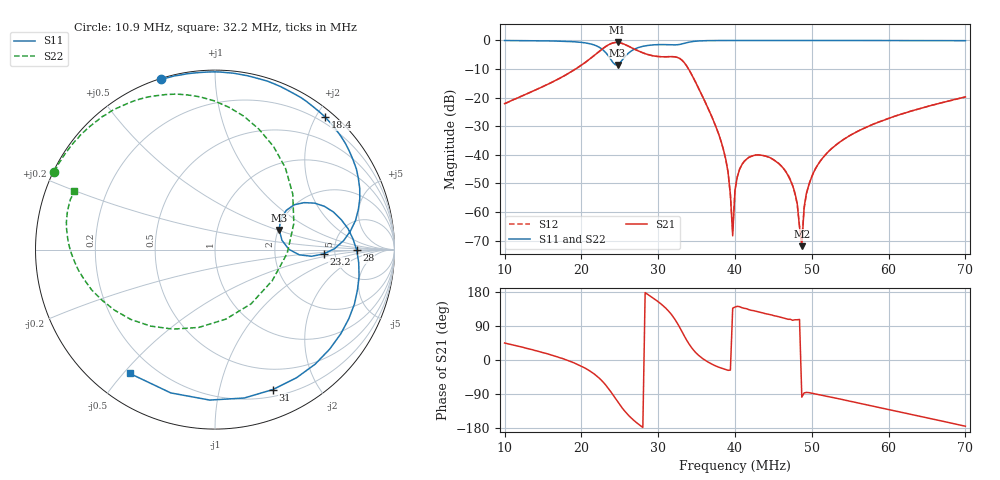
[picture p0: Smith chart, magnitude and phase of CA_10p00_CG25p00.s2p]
#  HZ  S  RI  R  50.00
! Rohde & Schwarz ZVT8 8Ports - Version 4.11 - 1300.0000k08 SN: 100242
! Date: 2026-07-31 14:10:20
! Measurements: S11 S21 S12 S22
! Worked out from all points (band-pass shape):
!   201 points, 10 MHz to 70 MHz, reference 50 ohm
!   highest |S21| = -0.71 dB at 24.7 MHz (marker M1); lowest = -71.9 dB at 48.7 MHz (marker M2)
!   |S21| within 3 dB of the highest: 22.38 MHz to 27.43 MHz (5.042 MHz wide, 20.2 % of centre)
!   lowest |S11| = -8.5 dB at 24.7 MHz (marker M3), VSWR 2.19, Z = 101 + j25.6 ohm
!   |S11| at or under -10 dB: nowhere
!   |S22| runs from -8.8 to 0.0 dB; largest |S21 - S12| = 0.0033
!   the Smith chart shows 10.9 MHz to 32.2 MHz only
!   S11 on the Smith chart (normalised r, x): 10.9 MHz: 0.00, +0.73; 18.4 MHz: 0.11, +2.12; 23.2 MHz: 4.05, -0.31; 28 MHz: 8.51, -0.16; 31 MHz: 0.27, -1.46; 32.2 MHz: 0.11, -0.52
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1e7  -0.4007 0.9123  0.0555 0.0554  0.0554 0.0556  -0.9146 0.3952
1.09e7  -0.2991 0.9482  0.0676 0.0579  0.0676 0.0579  -0.8969 0.435
1.84e7  0.6129 0.7391  0.27 -0.0128  0.2695 -0.0122  -0.5517 0.7854
2.02e7  0.769 0.5004  0.3667 -0.1221  0.3664 -0.1218  -0.3264 0.8576
2.32e7  0.6052 -0.0242  0.3079 -0.7258  0.3072 -0.7265  0.3922 0.4554
2.47e7  0.3577 0.1088  -0.305 -0.869  -0.3057 -0.869  0.2005 -0.3025
2.8e7  0.7898 -0.00352  -0.6056 -0.022  -0.6077 -0.0245  -0.7865 -0.0583
3.01e7  0.6393 -0.5541  -0.462 0.244  -0.4629 0.2428  -0.822 0.2137
3.1e7  0.3224 -0.7797  -0.3758 0.3568  -0.3759 0.357  -0.8043 0.2829
3.22e7  -0.475 -0.6898  -0.1457 0.495  -0.146 0.4955  -0.7869 0.3274
3.31e7  -0.8616 0.1176  0.1198 0.435  0.1206 0.435  -0.8147 0.3557
3.43e7  -0.0875 0.9441  0.2173 0.146  0.2173 0.146  -0.8452 0.4589
3.61e7  0.8139 0.564  0.085 -0.000629  0.0848 -0.000955  -0.7938 0.6006
3.85e7  0.9939 -0.0774  0.0112 -0.00481  0.0112 -0.00493  -0.7024 0.7099
3.97e7  0.9487 -0.3079  -0.00028 0.000263  -0.000271 0.000396  -0.6563 0.751
4e7  0.9301 -0.3593  -0.00183 0.00156  -0.00191 0.00153  -0.6468 0.7615
4.57e7  0.3565 -0.932  -0.00287 0.00645  -0.00288 0.00646  -0.4412 0.895
4.78e7  0.1003 -0.9932  -0.000607 0.00209  -0.000441 0.00202  -0.3645 0.9275
4.87e7  -0.0108 -0.9983  -3.54e-05 -0.000251  1.32e-05 -0.000329  -0.3327 0.9407
5.02e7  -0.1895 -0.9807  0.00014 -0.00482  0.000178 -0.00485  -0.2783 0.9579
6.01e7  -0.9682 -0.2314  -0.0288 -0.0331  -0.0288 -0.0331  0.0933 0.9918
7e7  -0.619 0.7744  -0.1025 -0.00945  -0.1024 -0.00936  0.4662 0.8761
